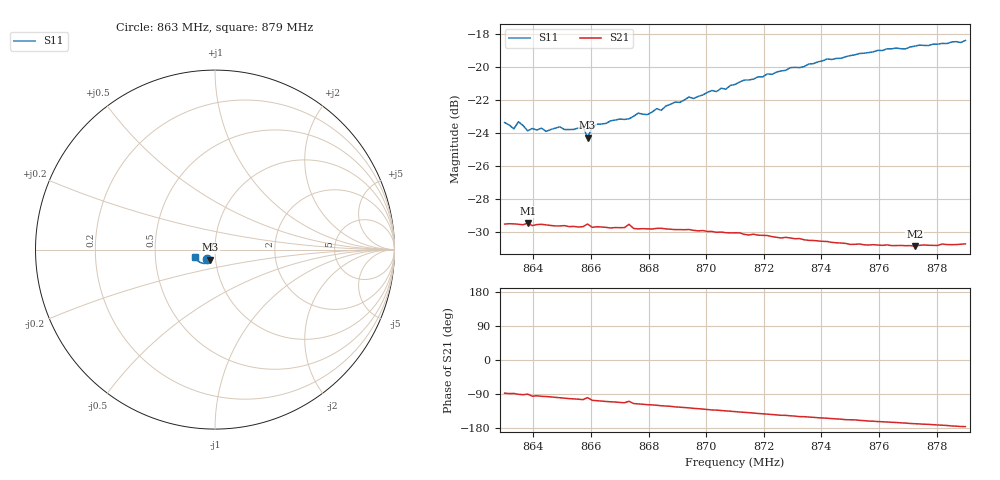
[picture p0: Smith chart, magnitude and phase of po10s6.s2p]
# HZ S RI R 50
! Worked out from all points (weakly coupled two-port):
!   101 points, 863 MHz to 879 MHz, reference 50 ohm
!   highest |S21| = -29.46 dB at 863.8 MHz (marker M1); lowest = -30.9 dB at 877.24 MHz (marker M2)
!   lowest |S11| = -24.3 dB at 865.88 MHz (marker M3), VSWR 1.13, Z = 47.2 - j5.26 ohm
!   |S11| at or under -10 dB: start of sweep to end of sweep
!   S12 and S22 are empty: the file has one direction only
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8.63e8  -0.0432 -0.0523  0.0015 -0.0334  0 0  0 0
8.6332e8  -0.0394 -0.0516  0.001 -0.0335  0 0  0 0
8.6348e8  -0.0432 -0.0527  -0.000287 -0.0334  0 0  0 0
8.638e8  -0.0364 -0.0526  -7.1e-05 -0.0336  0 0  0 0
8.6572e8  -0.0318 -0.0579  -0.00827 -0.0318  0 0  0 0
8.6588e8  -0.0256 -0.0554  -0.00539 -0.033  0 0  0 0
8.6604e8  -0.0324 -0.0571  -0.00919 -0.0314  0 0  0 0
8.662e8  -0.0336 -0.058  -0.00981 -0.0313  0 0  0 0
8.6716e8  -0.0322 -0.0614  -0.0127 -0.0301  0 0  0 0
8.6732e8  -0.0281 -0.0637  -0.0108 -0.0316  0 0  0 0
8.6748e8  -0.0324 -0.063  -0.0137 -0.0294  0 0  0 0
8.6764e8  -0.0342 -0.0639  -0.0141 -0.0291  0 0  0 0
8.6796e8  -0.0329 -0.0637  -0.0152 -0.0286  0 0  0 0
8.6828e8  -0.0343 -0.0664  -0.0159 -0.0283  0 0  0 0
8.6844e8  -0.0332 -0.066  -0.0166 -0.0279  0 0  0 0
8.694e8  -0.0383 -0.0714  -0.019 -0.026  0 0  0 0
8.6956e8  -0.0388 -0.0702  -0.0195 -0.0254  0 0  0 0
8.71e8  -0.0477 -0.0745  -0.0227 -0.0218  0 0  0 0
8.7372e8  -0.0684 -0.076  -0.0262 -0.0143  0 0  0 0
8.7644e8  -0.0933 -0.0645  -0.0277 -0.00774  0 0  0 0
8.7724e8  -0.1001 -0.0575  -0.028 -0.00591  0 0  0 0
8.79e8  -0.1134 -0.0397  -0.029 -0.00215  0 0  0 0
